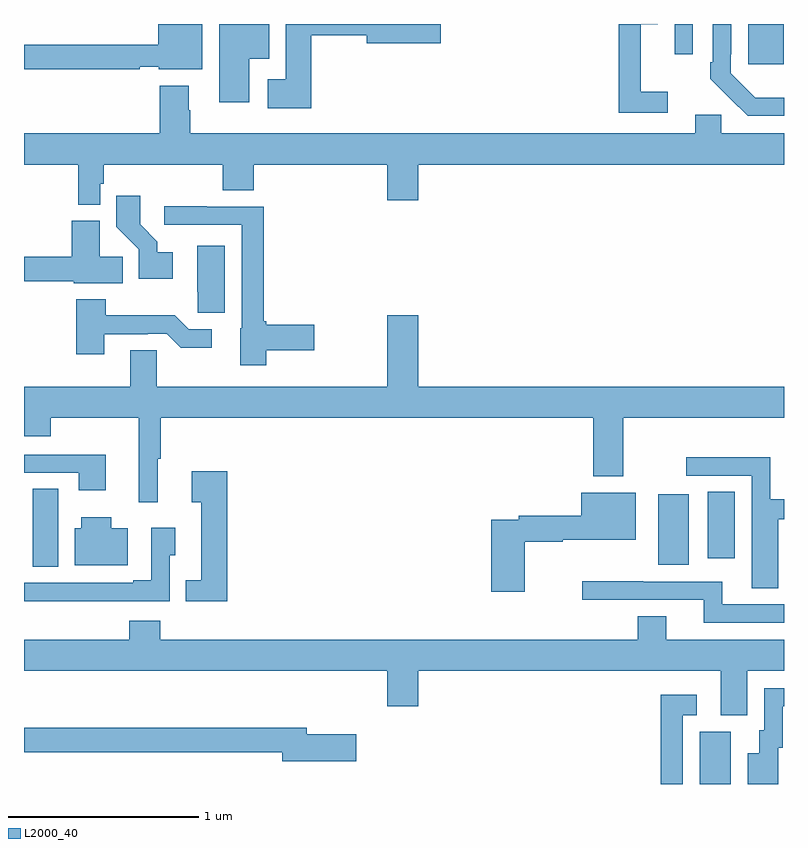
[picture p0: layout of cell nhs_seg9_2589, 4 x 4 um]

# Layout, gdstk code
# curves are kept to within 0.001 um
import gdstk
lib = gdstk.Library(unit=1e-6, precision=1e-09)
def R(c, l, rs):  # rectangles x0, y0, x1, y1
    for r in rs: c.add(gdstk.rectangle(r[:2], r[2:], *l))
def P(c, l, *ps):  # polygons
    for p in ps: c.add(gdstk.Polygon(p, *l))
L2000_40 = (2000, 40)

nhs_seg9_2589 = lib.new_cell('nhs_seg9_2589')
R(nhs_seg9_2589, L2000_40, [(262.556,1186.5,262.72,1186.776), (259.046,1187.644,259.18,1188.053), (262.337,1187.654,262.498,1188.025), (262.598,1187.688,262.741,1188.038), (262.811,1190.289,262.999,1190.5), (262.425,1190.34,262.521,1190.5)])
P(nhs_seg9_2589, L2000_40, [(260.185,1190.318),(260.29,1190.318),(260.29,1190.5),(260.027,1190.5),(260.027,1190.088),(260.185,1190.088)],
  [(259.939,1190.5),(259.706,1190.5),(259.706,1190.39),(259,1190.39),(259,1190.262),(259.61,1190.262),(259.61,1190.274),(259.71,1190.274),(259.71,1190.261),(259.939,1190.261)],
  [(260.513,1190.44),(260.804,1190.44),(260.804,1190.398),(261.193,1190.398),(261.193,1190.5),(260.378,1190.5),(260.378,1190.209),(260.283,1190.209),(260.283,1190.057),(260.513,1190.057)],
  [(262.387,1190.143),(262.247,1190.143),(262.247,1190.498),(262.336,1190.498),(262.336,1190.5),(262.129,1190.5),(262.129,1190.034),(262.387,1190.034)],
  [(263,1190.112),(262.848,1190.113),(262.719,1190.241),(262.719,1190.341),(262.722,1190.341),(262.722,1190.5),(262.626,1190.5),(262.626,1190.299),(262.611,1190.299),(262.611,1190.211),(262.808,1190.016),(263,1190.016)],
  [(259.401,1189.659),(259.421,1189.659),(259.421,1189.76),(260.045,1189.76),(260.045,1189.624),(260.21,1189.624),(260.21,1189.76),(260.912,1189.76),(260.912,1189.572),(261.076,1189.572),(261.076,1189.76),(263,1189.76),(263,1189.924),(262.671,1189.924),(262.671,1190.022),(262.532,1190.022),(262.532,1189.924),(259.875,1189.924),(259.875,1190.045),(259.867,1190.045),(259.867,1190.176),(259.715,1190.176),(259.715,1189.924),(259,1189.924),(259,1189.76),(259.285,1189.76),(259.285,1189.55),(259.401,1189.55)],
  [(259.783,1189.3),(259.702,1189.3),(259.702,1189.355),(259.612,1189.445),(259.612,1189.597),(259.486,1189.597),(259.486,1189.434),(259.605,1189.315),(259.605,1189.16),(259.783,1189.16)],
  [(260.274,1188.782),(260.527,1188.782),(260.527,1188.917),(260.274,1188.917),(260.274,1188.935),(260.261,1188.935),(260.261,1189.539),(259.961,1189.539),(259.961,1189.542),(259.737,1189.542),(259.737,1189.443),(260.145,1189.443),(260.145,1188.9),(260.138,1188.9),(260.138,1188.704),(260.274,1188.704)],
  [(259.52,1189.274),(259.399,1189.274),(259.399,1189.465),(259.25,1189.465),(259.25,1189.276),(259,1189.276),(259,1189.147),(259.262,1189.147),(259.262,1189.136),(259.52,1189.136)],
  [(260.056,1189.333),(259.913,1189.333),(259.913,1189.09),(259.914,1189.09),(259.914,1188.979),(260.056,1188.979)],
  [(259.423,1188.867),(259.652,1188.867),(259.652,1188.87),(259.752,1188.87),(259.825,1188.797),(259.987,1188.797),(259.987,1188.894),(259.866,1188.894),(259.793,1188.967),(259.431,1188.967),(259.431,1189.051),(259.276,1189.051),(259.276,1188.762),(259.423,1188.762)],
  [(259.703,1188.213),(259.721,1188.213),(259.721,1188.428),(261.995,1188.428),(261.995,1188.119),(262.155,1188.119),(262.155,1188.428),(263,1188.428),(263,1188.592),(261.076,1188.592),(261.076,1188.967),(260.912,1188.967),(260.912,1188.592),(259.698,1188.592),(259.698,1188.782),(259.559,1188.782),(259.559,1188.592),(259,1188.592),(259,1188.329),(259.142,1188.329),(259.142,1188.428),(259.604,1188.428),(259.604,1187.982),(259.703,1187.982)],
  [(259.429,1188.234),(259,1188.234),(259,1188.138),(259.289,1188.138),(259.289,1188.045),(259.429,1188.045)],
  [(262.969,1187.894),(263,1187.894),(263,1187.998),(262.928,1187.998),(262.928,1188.221),(262.485,1188.221),(262.485,1188.123),(262.829,1188.123),(262.829,1187.53),(262.969,1187.53)],
  [(260.069,1188.145),(259.883,1188.145),(259.883,1187.983),(259.934,1187.983),(259.934,1187.572),(259.852,1187.572),(259.852,1187.462),(260.069,1187.462)],
  [(261.636,1187.776),(261.836,1187.776),(261.836,1187.786),(262.219,1187.786),(262.219,1188.034),(261.932,1188.034),(261.932,1187.912),(261.604,1187.912),(261.604,1187.892),(261.458,1187.892),(261.458,1187.511),(261.636,1187.511)],
  [(259.546,1187.845),(259.459,1187.845),(259.459,1187.905),(259.301,1187.905),(259.301,1187.845),(259.268,1187.845),(259.268,1187.651),(259.546,1187.651)],
  [(259.469,1187.463),(259.767,1187.463),(259.767,1187.703),(259.795,1187.703),(259.795,1187.848),(259.671,1187.848),(259.671,1187.572),(259.574,1187.572),(259.574,1187.559),(259,1187.559),(259,1187.462),(259.469,1187.462)],
  [(263,1187.445),(262.675,1187.445),(262.675,1187.565),(262.259,1187.565),(262.259,1187.568),(261.939,1187.568),(261.939,1187.469),(262.577,1187.469),(262.577,1187.349),(263,1187.349)],
  [(262.807,1187.096),(263,1187.096),(263,1187.26),(262.381,1187.26),(262.381,1187.384),(262.229,1187.384),(262.229,1187.26),(259.718,1187.26),(259.718,1187.359),(259.553,1187.359),(259.553,1187.26),(259,1187.26),(259,1187.096),(260.912,1187.096),(260.912,1186.908),(261.076,1186.908),(261.076,1187.096),(262.667,1187.096),(262.667,1186.861),(262.807,1186.861)],
  [(262.969,1186.692),(262.993,1186.692),(262.993,1186.908),(263,1186.908),(263,1187.004),(262.896,1187.004),(262.896,1186.782),(262.871,1186.782),(262.871,1186.663),(262.808,1186.663),(262.808,1186.5),(262.969,1186.5)],
  [(262.467,1186.863),(262.54,1186.863),(262.54,1186.969),(262.351,1186.969),(262.351,1186.5),(262.467,1186.5)],
  [(260.749,1186.761),(260.488,1186.761),(260.488,1186.795),(259,1186.795),(259,1186.666),(260.36,1186.666),(260.36,1186.619),(260.749,1186.619)])

lib.write_gds('nhs_seg9_2589.gds')
